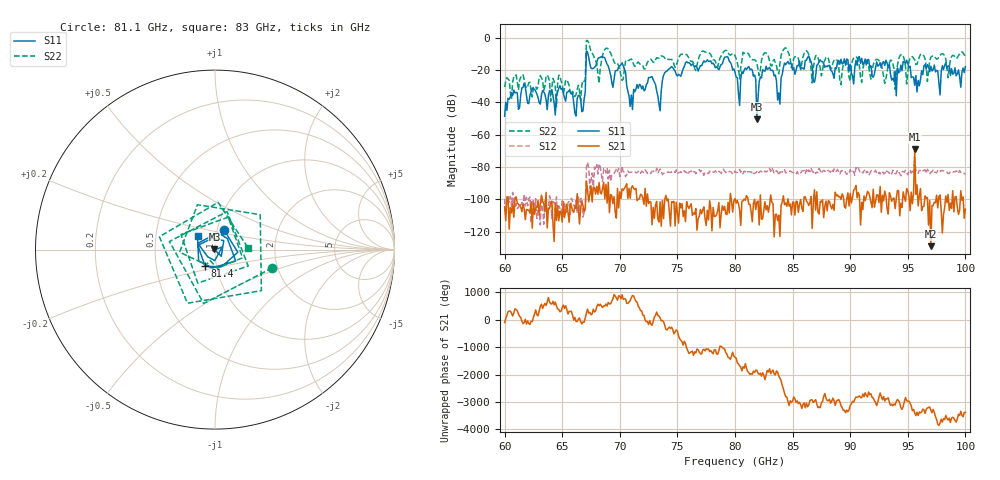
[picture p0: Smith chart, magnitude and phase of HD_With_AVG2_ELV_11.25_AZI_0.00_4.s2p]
! 11/25/2026 10:11:32 AM
! C:\ANRITSUVNA\TEMP\TEMP.S2P
! CHANNEL.1
! TR.MEASUREMENT
! RAW.DATA
# HZ S RI R 50.0
! FREQ.HZ  S11RE  S11IM  S21RE  S21IM  S12RE  S12IM  S22RE  S22IM
!; PortSelection: Port_12
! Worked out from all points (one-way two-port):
!   401 points, 60 GHz to 100 GHz, reference 50 ohm
!   highest |S21| = -69.08 dB at 95.6 GHz (marker M1); lowest = -128.9 dB at 97 GHz (marker M2)
!   lowest |S11| = -50.5 dB at 81.9 GHz (marker M3), VSWR 1.01, Z = 49.7 + j0.0925 ohm
!   |S11| at or under -10 dB: start of sweep to 67.09 GHz; 67.23 GHz to end of sweep
!   |S22| runs from -42.8 to -1.7 dB; largest |S21 - S12| = 0.00053
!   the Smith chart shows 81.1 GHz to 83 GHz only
!   S11 on the Smith chart (normalised r, x): 81.1 GHz: 1.08, +0.24; 81.4 GHz: 0.88, -0.17; 83 GHz: 0.81, +0.12
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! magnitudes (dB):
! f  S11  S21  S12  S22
! 60 GHz  -48.6  -104.5  -99.5  -30.5
! 61.6 GHz  -30.6  -102.6  -102.4  -22.8
! 66.7 GHz  -45.7  -101.5  -98.9  -29.5
! 67.3 GHz  -12.1  -101.3  -80.3  -3.2
! 68.4 GHz  -11.8  -96.5  -84.2  -14.7
! 70.3 GHz  -17.5  -94.3  -83.0  -25.5
! 70.9 GHz  -42.5  -99.3  -83.2  -13.5
! 72.7 GHz  -24.4  -101.7  -83.9  -13.3
! 73.4 GHz  -41.1  -114.0  -82.4  -12.6
! 74.4 GHz  -18.6  -116.5  -83.2  -13.4
! 80 GHz  -21.2  -99.4  -82.3  -11.1
! 81.1 GHz  -18.4  -98.8  -82.8  -9.5
! 81.4 GHz  -19.3  -107.5  -82.9  -13.1
! 81.9 GHz  -50.5  -101.6  -82.8  -15.9
! 83 GHz  -18.3  -103.5  -80.7  -14.6
! 83.8 GHz  -34.1  -109.7  -85.1  -22.3
! 84.4 GHz  -16.7  -102.1  -83.8  -6.2
! 86.7 GHz  -17.5  -117.9  -82.5  -28.0
! 93.4 GHz  -16.3  -95.8  -83.9  -15.6
! 95.6 GHz  -29.4  -69.1  -74.4  -13.7
! 97 GHz  -17.6  -128.9  -83.3  -12.1
! 100 GHz  -17.9  -106.0  -84.5  -12.1
